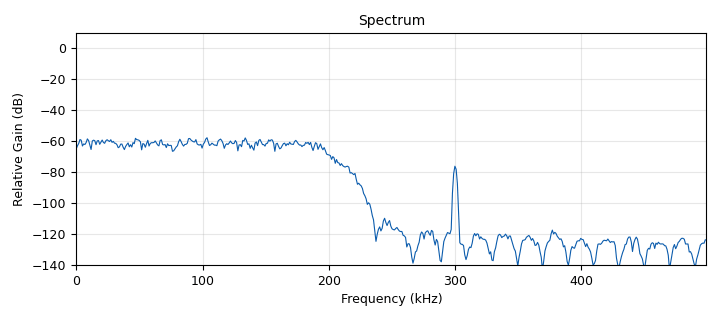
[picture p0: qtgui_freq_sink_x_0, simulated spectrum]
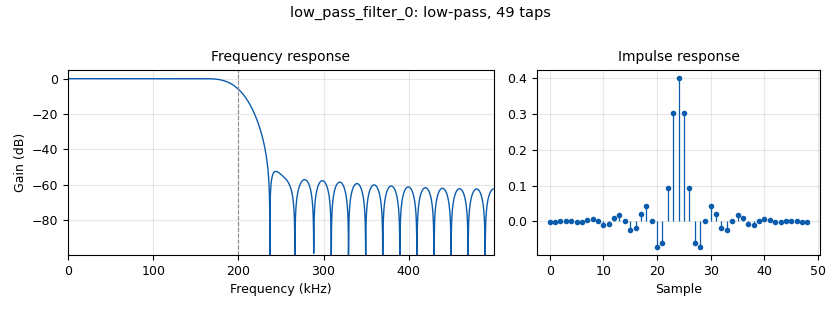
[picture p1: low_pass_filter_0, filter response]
<?xml version='1.0' encoding='utf-8'?>
<?grc format='1' created='3.7.11'?>
<flow_graph>
<block>
<key>options</key>
<param><key>id</key><value>filters_basic</value></param>
<param><key>author</key><value>Ettus Research</value></param>
<param><key>category</key><value>Custom</value></param>
<param><key>description</key><value>Example usage of basic filters</value></param>
<param><key>generate_options</key><value>qt_gui</value></param>
<param><key>title</key><value>Basic Filter Examples</value></param>
</block>
<block>
<key>variable_qtgui_range</key>
<param><key>id</key><value>high_cutoff</value></param>
<param><key>value</key><value>200e3</value></param>
<param><key>gui_hint</key><value>1, 2, 1, 2</value></param>
<param><key>label</key><value>High Cutoff</value></param>
<param><key>orient</key><value>Qt.Horizontal</value></param>
<param><key>start</key><value>0</value></param>
<param><key>step</key><value>1</value></param>
<param><key>stop</key><value>samp_rate/2</value></param>
</block>
<block>
<key>variable_qtgui_range</key>
<param><key>id</key><value>low_cutoff</value></param>
<param><key>value</key><value>100e3</value></param>
<param><key>gui_hint</key><value>1, 0, 1, 2</value></param>
<param><key>label</key><value>Low Cutoff</value></param>
<param><key>orient</key><value>Qt.Horizontal</value></param>
<param><key>start</key><value>0</value></param>
<param><key>step</key><value>1</value></param>
<param><key>stop</key><value>samp_rate/2</value></param>
</block>
<block>
<key>variable_qtgui_range</key>
<param><key>id</key><value>noise_amp</value></param>
<param><key>value</key><value>.1</value></param>
<param><key>gui_hint</key><value>0, 3, 1, 3</value></param>
<param><key>label</key><value>Noise</value></param>
<param><key>orient</key><value>Qt.Horizontal</value></param>
<param><key>start</key><value>0</value></param>
<param><key>step</key><value>.1</value></param>
<param><key>stop</key><value>1</value></param>
</block>
<block>
<key>variable</key>
<param><key>id</key><value>samp_rate</value></param>
<param><key>value</key><value>1e6</value></param>
</block>
<block>
<key>variable_qtgui_range</key>
<param><key>id</key><value>sine_freq</value></param>
<param><key>value</key><value>300e3</value></param>
<param><key>gui_hint</key><value>0, 0, 1, 3</value></param>
<param><key>label</key><value>Sine Frequency</value></param>
<param><key>orient</key><value>Qt.Horizontal</value></param>
<param><key>start</key><value>0</value></param>
<param><key>step</key><value>1e3</value></param>
<param><key>stop</key><value>1e6</value></param>
</block>
<block>
<key>variable_qtgui_range</key>
<param><key>id</key><value>transition</value></param>
<param><key>value</key><value>50e3</value></param>
<param><key>gui_hint</key><value>1, 4, 1, 2</value></param>
<param><key>label</key><value>Transition</value></param>
<param><key>orient</key><value>Qt.Horizontal</value></param>
<param><key>start</key><value>1e3</value></param>
<param><key>step</key><value>1</value></param>
<param><key>stop</key><value>100e3</value></param>
</block>
<block>
<key>analog_noise_source_x</key>
<param><key>id</key><value>analog_noise_source_x_0</value></param>
<param><key>amp</key><value>noise_amp</value></param>
<param><key>noise_type</key><value>analog.GR_GAUSSIAN</value></param>
<param><key>type</key><value>complex</value></param>
<param><key>seed</key><value>0</value></param>
</block>
<block>
<key>analog_sig_source_x</key>
<param><key>id</key><value>analog_sig_source_x_0</value></param>
<param><key>amp</key><value>.7</value></param>
<param><key>freq</key><value>sine_freq</value></param>
<param><key>offset</key><value>0</value></param>
<param><key>type</key><value>complex</value></param>
<param><key>samp_rate</key><value>samp_rate</value></param>
<param><key>waveform</key><value>analog.GR_COS_WAVE</value></param>
</block>
<block>
<key>band_pass_filter</key>
<param><key>id</key><value>band_pass_filter_0</value></param>
<param><key>_enabled</key><value>0</value></param>
<param><key>type</key><value>interp_fir_filter_fff</value></param>
<param><key>gain</key><value>1</value></param>
<param><key>high_cutoff_freq</key><value>high_cutoff</value></param>
<param><key>interp</key><value>1</value></param>
<param><key>low_cutoff_freq</key><value>low_cutoff</value></param>
<param><key>samp_rate</key><value>samp_rate</value></param>
<param><key>width</key><value>transition</value></param>
<param><key>win</key><value>firdes.WIN_HAMMING</value></param>
</block>
<block>
<key>band_reject_filter</key>
<param><key>id</key><value>band_reject_filter_0</value></param>
<param><key>_enabled</key><value>0</value></param>
<param><key>type</key><value>interp_fir_filter_fff</value></param>
<param><key>gain</key><value>1</value></param>
<param><key>high_cutoff_freq</key><value>high_cutoff</value></param>
<param><key>interp</key><value>1</value></param>
<param><key>low_cutoff_freq</key><value>low_cutoff</value></param>
<param><key>samp_rate</key><value>samp_rate</value></param>
<param><key>width</key><value>transition</value></param>
<param><key>win</key><value>firdes.WIN_HAMMING</value></param>
</block>
<block>
<key>blocks_add_xx</key>
<param><key>id</key><value>blocks_add_xx_0</value></param>
<param><key>type</key><value>complex</value></param>
</block>
<block>
<key>blocks_complex_to_float</key>
<param><key>id</key><value>blocks_complex_to_float_0</value></param>
</block>
<block>
<key>blocks_throttle</key>
<param><key>id</key><value>blocks_throttle_0</value></param>
<param><key>samples_per_second</key><value>samp_rate</value></param>
<param><key>type</key><value>complex</value></param>
</block>
<block>
<key>high_pass_filter</key>
<param><key>id</key><value>high_pass_filter_0</value></param>
<param><key>cutoff_freq</key><value>low_cutoff</value></param>
<param><key>_enabled</key><value>0</value></param>
<param><key>type</key><value>interp_fir_filter_fff</value></param>
<param><key>gain</key><value>1</value></param>
<param><key>interp</key><value>1</value></param>
<param><key>samp_rate</key><value>samp_rate</value></param>
<param><key>width</key><value>transition</value></param>
<param><key>win</key><value>firdes.WIN_HAMMING</value></param>
</block>
<block>
<key>low_pass_filter</key>
<param><key>id</key><value>low_pass_filter_0</value></param>
<param><key>cutoff_freq</key><value>high_cutoff</value></param>
<param><key>decim</key><value>1</value></param>
<param><key>type</key><value>fir_filter_fff</value></param>
<param><key>gain</key><value>1</value></param>
<param><key>samp_rate</key><value>samp_rate</value></param>
<param><key>width</key><value>transition</value></param>
<param><key>win</key><value>firdes.WIN_HAMMING</value></param>
</block>
<block>
<key>qtgui_freq_sink_x</key>
<param><key>id</key><value>qtgui_freq_sink_x_0</value></param>
<param><key>average</key><value>0.2</value></param>
<param><key>bw</key><value>samp_rate</value></param>
<param><key>fc</key><value>0</value></param>
<param><key>fftsize</key><value>1024</value></param>
<param><key>gui_hint</key><value>2, 0, 1,6</value></param>
<param><key>name</key><value>"Spectrum"</value></param>
<param><key>showports</key><value>True</value></param>
<param><key>freqhalf</key><value>False</value></param>
<param><key>type</key><value>float</value></param>
<param><key>wintype</key><value>firdes.WIN_BLACKMAN_hARRIS</value></param>
</block>
<connection><source_block_id>analog_noise_source_x_0</source_block_id><sink_block_id>blocks_add_xx_0</sink_block_id><source_key>0</source_key><sink_key>1</sink_key></connection>
<connection><source_block_id>analog_sig_source_x_0</source_block_id><sink_block_id>blocks_add_xx_0</sink_block_id><source_key>0</source_key><sink_key>0</sink_key></connection>
<connection><source_block_id>band_pass_filter_0</source_block_id><sink_block_id>qtgui_freq_sink_x_0</sink_block_id><source_key>0</source_key><sink_key>0</sink_key></connection>
<connection><source_block_id>band_reject_filter_0</source_block_id><sink_block_id>qtgui_freq_sink_x_0</sink_block_id><source_key>0</source_key><sink_key>0</sink_key></connection>
<connection><source_block_id>blocks_add_xx_0</source_block_id><sink_block_id>blocks_throttle_0</sink_block_id><source_key>0</source_key><sink_key>0</sink_key></connection>
<connection><source_block_id>blocks_complex_to_float_0</source_block_id><sink_block_id>band_pass_filter_0</sink_block_id><source_key>0</source_key><sink_key>0</sink_key></connection>
<connection><source_block_id>blocks_complex_to_float_0</source_block_id><sink_block_id>band_reject_filter_0</sink_block_id><source_key>0</source_key><sink_key>0</sink_key></connection>
<connection><source_block_id>blocks_complex_to_float_0</source_block_id><sink_block_id>high_pass_filter_0</sink_block_id><source_key>0</source_key><sink_key>0</sink_key></connection>
<connection><source_block_id>blocks_complex_to_float_0</source_block_id><sink_block_id>low_pass_filter_0</sink_block_id><source_key>0</source_key><sink_key>0</sink_key></connection>
<connection><source_block_id>blocks_throttle_0</source_block_id><sink_block_id>blocks_complex_to_float_0</sink_block_id><source_key>0</source_key><sink_key>0</sink_key></connection>
<connection><source_block_id>high_pass_filter_0</source_block_id><sink_block_id>qtgui_freq_sink_x_0</sink_block_id><source_key>0</source_key><sink_key>0</sink_key></connection>
<connection><source_block_id>low_pass_filter_0</source_block_id><sink_block_id>qtgui_freq_sink_x_0</sink_block_id><source_key>0</source_key><sink_key>0</sink_key></connection>
</flow_graph>
